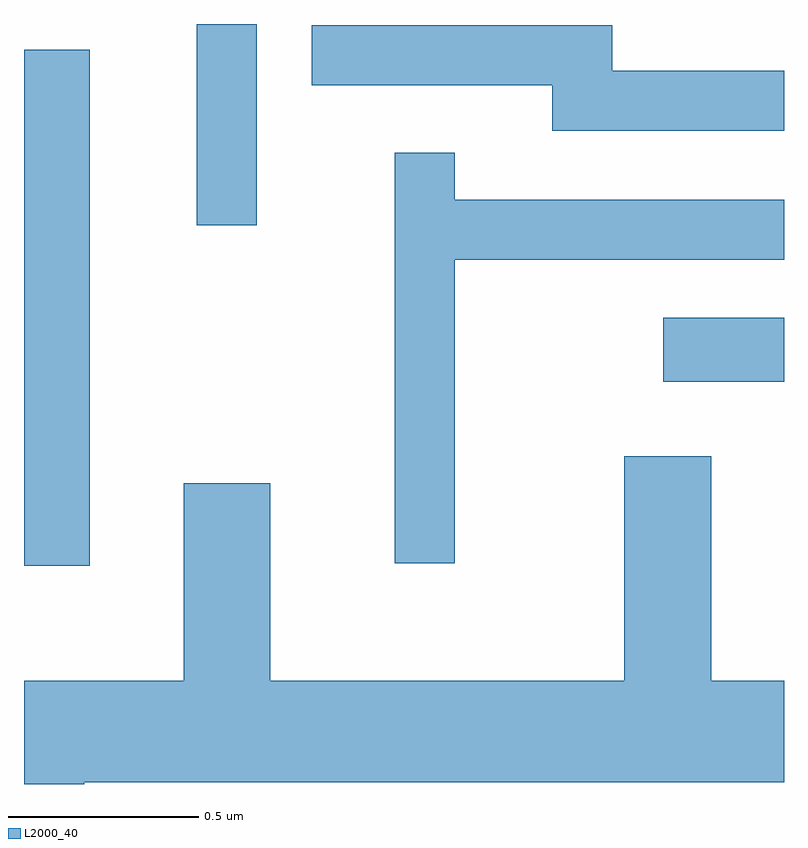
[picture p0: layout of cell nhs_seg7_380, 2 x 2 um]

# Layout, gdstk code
import gdstk
lib = gdstk.Library(unit=1e-6, precision=1e-09)
def R(c, l, rs):  # rectangles x0, y0, x1, y1
    for r in rs: c.add(gdstk.rectangle(r[:2], r[2:], *l))
def P(c, l, *ps):  # polygons
    for p in ps: c.add(gdstk.Polygon(p, *l))
L2000_40 = (2000, 40)

nhs_seg7_380 = lib.new_cell('nhs_seg7_380')
R(nhs_seg7_380, L2000_40, [(187.611,1774.826,187.784,1776.184), (189.293,1775.311,189.611,1775.479), (188.066,1775.723,188.224,1776.252)])
P(nhs_seg7_380, L2000_40, [(189.611,1776.129),(189.159,1776.129),(189.159,1776.249),(188.368,1776.249),(188.368,1776.091),(189.001,1776.091),(189.001,1775.971),(189.611,1775.971)],
  [(188.744,1775.631),(189.611,1775.631),(189.611,1775.789),(188.744,1775.789),(188.744,1775.913),(188.586,1775.913),(188.586,1774.833),(188.744,1774.833)],
  [(187.769,1774.256),(189.611,1774.256),(189.611,1774.524),(189.419,1774.524),(189.419,1775.114),(189.191,1775.114),(189.191,1774.524),(188.259,1774.524),(188.259,1775.044),(188.031,1775.044),(188.031,1774.524),(187.611,1774.524),(187.611,1774.252),(187.769,1774.252)])

lib.write_gds('nhs_seg7_380.gds')
